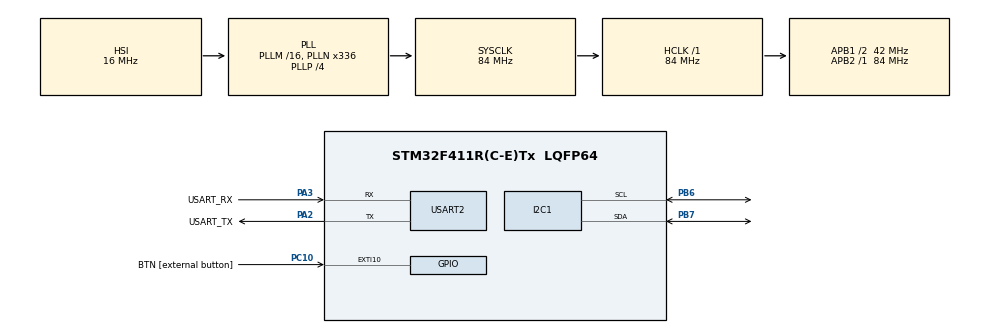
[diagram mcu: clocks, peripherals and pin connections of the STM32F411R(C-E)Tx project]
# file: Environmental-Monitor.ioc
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Mcu.Family=STM32F4
Mcu.Name=STM32F411R(C-E)Tx
Mcu.Package=LQFP64
NVIC.EXTI15_10_IRQn=true\:0\:0\:false\:false\:true\:true\:true\:true
NVIC.PriorityGroup=NVIC_PRIORITYGROUP_0
PA13.GPIO_Label=TMS
PA13.Mode=Serial_Wire
PA13.Signal=SYS_JTMS-SWDIO
PA14.GPIO_Label=TCK
PA14.Mode=Serial_Wire
PA14.Signal=SYS_JTCK-SWCLK
PA2.GPIO_Label=USART_TX
PA2.Mode=Asynchronous
PA2.Signal=USART2_TX
PA3.GPIO_Label=USART_RX
PA3.Mode=Asynchronous
PA3.Signal=USART2_RX
PB3.GPIO_Label=SWO
PB3.Signal=SYS_JTDO-SWO
PB6.Mode=I2C
PB6.Signal=I2C1_SCL
PB7.Mode=I2C
PB7.Signal=I2C1_SDA
PC10.GPIO_Label=BTN [external button]
PC10.GPIO_ModeDefaultEXTI=GPIO_MODE_IT_FALLING
PC10.Signal=GPXTI10
PC14-OSC32_IN.Mode=LSE-External-Oscillator
PC14-OSC32_IN.Signal=RCC_OSC32_IN
PC15-OSC32_OUT.Mode=LSE-External-Oscillator
PC15-OSC32_OUT.Signal=RCC_OSC32_OUT
PH0\ -\ OSC_IN.Mode=HSE-External-Clock-Source
PH0\ -\ OSC_IN.Signal=RCC_OSC_IN
PH1\ -\ OSC_OUT.Mode=HSE-External-Clock-Source
PH1\ -\ OSC_OUT.Signal=RCC_OSC_OUT
ProjectManager.HeapSize=0x200
ProjectManager.StackSize=0x400
ProjectManager.TargetToolchain=STM32CubeIDE
RCC.48MHZClocksFreq_Value=84000000
RCC.AHBFreq_Value=84000000
RCC.APB1CLKDivider=RCC_HCLK_DIV2
RCC.APB1Freq_Value=42000000
RCC.APB1TimFreq_Value=84000000
RCC.APB2Freq_Value=84000000
RCC.APB2TimFreq_Value=84000000
RCC.CortexFreq_Value=84000000
RCC.FLatency-AdvancedSettings=FLASH_LATENCY_2
RCC.HCLKFreq_Value=84000000
RCC.HSE_VALUE=8000000
RCC.HSI_VALUE=16000000
RCC.PLLN=336
RCC.PLLP=RCC_PLLP_DIV4
RCC.SYSCLKFreq_VALUE=84000000
RCC.SYSCLKSource=RCC_SYSCLKSOURCE_PLLCLK
RCC.VCOOutputFreq_Value=336000000
USART2.VirtualMode=VM_ASYNC
VP_RTC_VS_RTC_Activate.Mode=RTC_Enabled
VP_RTC_VS_RTC_Calendar.Mode=RTC_Calendar
board=NUCLEO-F411RE

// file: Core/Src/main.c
/* USER CODE BEGIN Header */
/**
  ******************************************************************************
  * @file           : main.c
  * @brief          : Main program body
  ******************************************************************************
  * @attention
  *
  * Copyright (c) 2026 STMicroelectronics.
  * All rights reserved.
  *
  * This software is licensed under terms that can be found in the LICENSE file
  * in the root directory of this software component.
  * If no LICENSE file comes with this software, it is provided AS-IS.
  *
  ******************************************************************************
  */
/* USER CODE END Header */
#include "main.h"
#include "i2c.h"
#include "rtc.h"
#include "usart.h"
#include "gpio.h"

/* USER CODE BEGIN PTD */
typedef struct {
	uint16_t dig_T1;
	int16_t dig_T2;
	int16_t dig_T3;
	uint16_t dig_P1;
	int16_t dig_P2;
	int16_t dig_P3;
	int16_t dig_P4;
	int16_t dig_P5;
	int16_t dig_P6;
	int16_t dig_P7;
	int16_t dig_P8;
	int16_t dig_P9;
	uint8_t dig_H1;
	int16_t dig_H2;
	uint8_t dig_H3;
	int16_t dig_H4;
	int16_t dig_H5;
	int8_t dig_H6;
} Cal;
/* USER CODE END PTD */

/* USER CODE BEGIN PV */
uint32_t R_Hum, R_Temp, R_Press;
float Hum, Temp, Press;
Cal c;
volatile int mode; //0-temp, 1-press, 2-hum, 3-all
/* USER CODE END PV */

void SystemClock_Config(void);

/* USER CODE BEGIN 0 */
void Calibration(void) {
	uint8_t H[9], T[6], P[18];

	HAL_I2C_Mem_Read(&hi2c1, 0x76 << 1, 0xA1, I2C_MEMADD_SIZE_8BIT, &H[0], 1, HAL_MAX_DELAY);
	HAL_I2C_Mem_Read(&hi2c1, 0x76 << 1, 0xE1, I2C_MEMADD_SIZE_8BIT, &H[1], 8, HAL_MAX_DELAY);
	HAL_I2C_Mem_Read(&hi2c1, 0x76 << 1, 0x88, I2C_MEMADD_SIZE_8BIT, T, 6, HAL_MAX_DELAY);
	HAL_I2C_Mem_Read(&hi2c1, 0x76 << 1, 0x8E, I2C_MEMADD_SIZE_8BIT, P, 18, HAL_MAX_DELAY);

	c.dig_H1 = H[0];
	c.dig_H2 = (H[2] << 8) | H[1];
	c.dig_H3 = H[3];
	c.dig_H4 = (int16_t)((H[4] << 4) | (H[5] & 0x0F));
	c.dig_H5 = (int16_t)((H[7] << 4) | (H[6] >> 4));
	c.dig_H6 = H[8];

	c.dig_T1 = (T[1] << 8) | T[0];
	c.dig_T2 = (T[3] << 8) | T[2];
	c.dig_T3 = (T[5] << 8) | T[4];

	c.dig_P1 = (P[1] << 8) | P[0];
	c.dig_P2 = (P[3] << 8) | P[2];
	c.dig_P3 = (P[5] << 8) | P[4];
	c.dig_P4 = (P[7] << 8) | P[6];
	c.dig_P5 = (P[9] << 8) | P[8];
	c.dig_P6 = (P[11] << 8) | P[10];
	c.dig_P7 = (P[13] << 8) | P[12];
	c.dig_P8 = (P[15] << 8) | P[14];
	c.dig_P9 = (P[17] << 8) | P[16];
}

void Raw_Data(void){
	uint8_t Buff[8];

	HAL_I2C_Mem_Read(&hi2c1, 0x76 << 1, 0xF7, I2C_MEMADD_SIZE_8BIT, Buff, 8, HAL_MAX_DELAY);

	R_Hum = (Buff[6] << 8) | Buff[7];
	R_Temp = (Buff[3] << 12) | (Buff[4] << 4) | (Buff[5] >> 4);
	R_Press = (Buff[0] << 12) | (Buff[1] << 4) | (Buff[2] >> 4);
}

void RTC_Timestamp(char *buff){
	RTC_TimeTypeDef time;
	RTC_DateTypeDef date;

	HAL_RTC_GetTime(&hrtc, &time, RTC_FORMAT_BIN);
	HAL_RTC_GetDate(&hrtc, &date, RTC_FORMAT_BCD);

	sprintf(buff, "[%02d:%02d:%02d    %02d/%02d/20%02d]\r\n",
			time.Hours, time.Minutes, time.Seconds,
			date.Date, date.Month, date.Year);
}
//###########################################
//CODE FROM DATASHEET
// Returns temperature in DegC, resolution is 0.01 DegC. Output value of “5123” equals 51.23 DegC.
// t_fine carries fine temperature as global value
int32_t t_fine;
int32_t BME280_compensate_T_int32(int32_t adc_T)
{
	int32_t var1, var2, T;
var1 = ((((adc_T>>3) - ((int32_t)c.dig_T1<<1))) * ((int32_t)c.dig_T2)) >> 11;
var2 = (((((adc_T>>4) - ((int32_t)c.dig_T1)) * ((adc_T>>4) - ((int32_t)c.dig_T1))) >> 12) *
((int32_t)c.dig_T3)) >> 14;
t_fine = var1 + var2;
T = (t_fine * 5 + 128) >> 8;
return T;
}
// Returns pressure in Pa as unsigned 32 bit integer in Q24.8 format (24 integer bits and 8 fractional bits).
// Output value of “24674867” represents 24674867/256 = 96386.2 Pa = 963.862 hPa
uint32_t BME280_compensate_P_int64(int32_t adc_P)
{
int64_t var1, var2, p;
var1 = ((int64_t)t_fine) - 128000;
var2 = var1 * var1 * (int64_t)c.dig_P6;
var2 = var2 + ((var1*(int64_t)c.dig_P5)<<17);
var2 = var2 + (((int64_t)c.dig_P4)<<35);
var1 = ((var1 * var1 * (int64_t)c.dig_P3)>>8) + ((var1 * (int64_t)c.dig_P2)<<12);
var1 = (((((int64_t)1)<<47)+var1))*((int64_t)c.dig_P1)>>33;
if (var1 == 0)
{
return 0; // avoid exception caused by division by zero
}
p = 1048576-adc_P;
p = (((p<<31) - var2)*3125)/var1;
var1 = (((int64_t)c.dig_P9) * (p>>13) * (p>>13)) >> 25;
var2 = (((int64_t)c.dig_P8) * p) >> 19;
p = ((p + var1 + var2) >> 8) + (((int64_t)c.dig_P7)<<4);
return (uint32_t)p;
}
// Returns humidity in %RH as unsigned 32 bit integer in Q22.10 format (22 integer and 10 fractional bits).
// Output value of “47445” represents 47445/1024 = 46.333 %RH
uint32_t bme280_compensate_H_int32(int32_t adc_H)
{
int32_t v_x1_u32r;
v_x1_u32r = (t_fine - ((int32_t)76800));
v_x1_u32r = (((((adc_H << 14) - (((int32_t)c.dig_H4) << 20) - (((int32_t)c.dig_H5) * v_x1_u32r)) +
((int32_t)16384)) >> 15) * (((((((v_x1_u32r * ((int32_t)c.dig_H6)) >> 10) * (((v_x1_u32r *
		((int32_t)c.dig_H3)) >> 11) + ((int32_t)32768))) >> 10) + ((int32_t)2097152)) *
		((int32_t)c.dig_H2) + 8192) >> 14));
		v_x1_u32r = (v_x1_u32r - (((((v_x1_u32r >> 15) * (v_x1_u32r >> 15)) >> 7) * ((int32_t)c.dig_H1)) >> 4));
		v_x1_u32r = (v_x1_u32r < 0 ? 0 : v_x1_u32r);
		v_x1_u32r = (v_x1_u32r > 419430400 ? 419430400 : v_x1_u32r);
		return (uint32_t)(v_x1_u32r>>12);
		}
//END OF CODE FROM DATASHEET
//###########################################

void Compensate(void){
	Temp = BME280_compensate_T_int32(R_Temp) / 100.0f; //C
	Press = (BME280_compensate_P_int64(R_Press) / 256.0f) / 100.0f; //hPa
	Hum = bme280_compensate_H_int32(R_Hum) / 1024.0f; //%
}

void Configure(void){
	uint8_t data = 0x01;
	HAL_I2C_Mem_Write(&hi2c1, 0x76 << 1, 0xF2, I2C_MEMADD_SIZE_8BIT, &data, 1, HAL_MAX_DELAY);

	data = (0x02 << 5) | (0x05 << 2) | 0x03;
	HAL_I2C_Mem_Write(&hi2c1, 0x76 << 1, 0xF4, I2C_MEMADD_SIZE_8BIT, &data, 1, HAL_MAX_DELAY);

	data = (0x00 << 5) | (0x04 << 2) | 0x00;
	HAL_I2C_Mem_Write(&hi2c1, 0x76 << 1, 0xF5, I2C_MEMADD_SIZE_8BIT, &data, 1, HAL_MAX_DELAY);
}

//#############################################
void BME280_Init(void){
	uint8_t data = 0xB6;
	HAL_I2C_Mem_Write(&hi2c1, 0x76 << 1, 0xE0, I2C_MEMADD_SIZE_8BIT, &data, 1, HAL_MAX_DELAY); //reset
	HAL_Delay(5);

	Calibration();
	Configure();
}
void BME280_Read(void){
	Raw_Data();
	Compensate();
}
void BME280_Display(int mode){
	char msg[50];
	char msg_date[50];

	switch(mode){
	case 0: { //only temperature
		sprintf(msg, "Temperature: %.2fC\r\n\n", Temp);
		break;
	}
	case 1: { //only pressure
		sprintf(msg, "Pressure: %.2fhPa\r\n\n", Press);
		break;
	}
	case 2: { //only humidity
		sprintf(msg, "Humidity: %.2f%%\r\n\n", Hum);
		break;
	}
	case 3: { //all
		sprintf(msg, "Temperature: %.2fC\r\nPressure: %.2fhPa\r\nHumidity: %.2f%%\r\n\n", Temp, Press, Hum);
		break;
	}
	}

	RTC_Timestamp(msg_date);
	HAL_UART_Transmit(&huart2, (uint8_t *)msg_date, strlen(msg_date), HAL_MAX_DELAY);
	HAL_UART_Transmit(&huart2, (uint8_t *)msg, strlen(msg), HAL_MAX_DELAY);
}
//#############################################

/* USER CODE END 0 */

int main(void)
{

  /* MCU Configuration--------------------------------------------------------*/

  /* Reset of all peripherals, Initializes the Flash interface and the Systick. */
  HAL_Init();

  /* Configure the system clock */
  SystemClock_Config();

  /* Initialize all configured peripherals */
  MX_GPIO_Init();
  MX_USART2_UART_Init();
  MX_I2C1_Init();
  MX_RTC_Init();
  /* USER CODE BEGIN 2 */
  uint8_t id;
  if (HAL_I2C_Mem_Read(&hi2c1, 0x76 << 1, 0xD0, I2C_MEMADD_SIZE_8BIT, &id, 1, HAL_MAX_DELAY) != HAL_OK) return 1;
  if (id != 0x60) return 1;
  BME280_Init();
  uint32_t start = HAL_GetTick();

  RTC_TimeTypeDef time;
  RTC_DateTypeDef date;
  time.Hours = 12;
  time.Minutes = 0;
  time.Seconds = 0;
  date.Date = 4;
  date.Month = 3;
  date.Year = 26;

  HAL_RTC_SetTime(&hrtc, &time, RTC_FORMAT_BIN);
  HAL_RTC_SetDate(&hrtc, &date, RTC_FORMAT_BCD);
  mode = 3;
  /* USER CODE END 2 */

  /* Infinite loop */
  /* USER CODE BEGIN WHILE */
  while (1)
  {
	  if(HAL_GetTick() - start >= 3000){
		  BME280_Read();
		  BME280_Display(mode);
		  start = HAL_GetTick();
	  }

    /* USER CODE END WHILE */

  }
}

void SystemClock_Config(void)
{
  RCC_OscInitTypeDef RCC_OscInitStruct = {0};
  RCC_ClkInitTypeDef RCC_ClkInitStruct = {0};

  /** Configure the main internal regulator output voltage
  */
  __HAL_RCC_PWR_CLK_ENABLE();
  __HAL_PWR_VOLTAGESCALING_CONFIG(PWR_REGULATOR_VOLTAGE_SCALE1);

  /** Initializes the RCC Oscillators according to the specified parameters
  * in the RCC_OscInitTypeDef structure.
  */
  RCC_OscInitStruct.OscillatorType = RCC_OSCILLATORTYPE_HSI|RCC_OSCILLATORTYPE_LSI;
  RCC_OscInitStruct.HSIState = RCC_HSI_ON;
  RCC_OscInitStruct.HSICalibrationValue = RCC_HSICALIBRATION_DEFAULT;
  RCC_OscInitStruct.LSIState = RCC_LSI_ON;
  RCC_OscInitStruct.PLL.PLLState = RCC_PLL_ON;
  RCC_OscInitStruct.PLL.PLLSource = RCC_PLLSOURCE_HSI;
  RCC_OscInitStruct.PLL.PLLM = 16;
  RCC_OscInitStruct.PLL.PLLN = 336;
  RCC_OscInitStruct.PLL.PLLP = RCC_PLLP_DIV4;
  RCC_OscInitStruct.PLL.PLLQ = 4;
  if (HAL_RCC_OscConfig(&RCC_OscInitStruct) != HAL_OK)
  {
    Error_Handler();
  }

  /** Initializes the CPU, AHB and APB buses clocks
  */
  RCC_ClkInitStruct.ClockType = RCC_CLOCKTYPE_HCLK|RCC_CLOCKTYPE_SYSCLK
                              |RCC_CLOCKTYPE_PCLK1|RCC_CLOCKTYPE_PCLK2;
  RCC_ClkInitStruct.SYSCLKSource = RCC_SYSCLKSOURCE_PLLCLK;
  RCC_ClkInitStruct.AHBCLKDivider = RCC_SYSCLK_DIV1;
  RCC_ClkInitStruct.APB1CLKDivider = RCC_HCLK_DIV2;
  RCC_ClkInitStruct.APB2CLKDivider = RCC_HCLK_DIV1;

  if (HAL_RCC_ClockConfig(&RCC_ClkInitStruct, FLASH_LATENCY_2) != HAL_OK)
  {
    Error_Handler();
  }
}

/* USER CODE BEGIN 4 */
void HAL_GPIO_EXTI_Callback(uint16_t GPIO_Pin){
	if(GPIO_Pin == BTN_Pin){
		if(mode == 3) mode = 0;
		else mode++;
	}
}
/* USER CODE END 4 */

void Error_Handler(void)
{
  __disable_irq();
  while (1)
  {
  }
}
